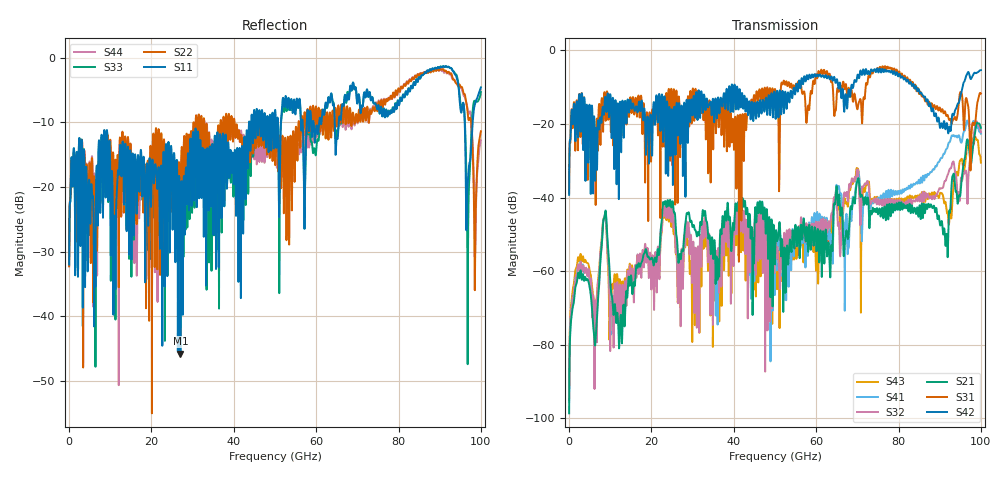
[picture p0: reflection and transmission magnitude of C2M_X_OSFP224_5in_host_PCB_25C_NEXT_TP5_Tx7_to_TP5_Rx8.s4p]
# GHz S RI R 45
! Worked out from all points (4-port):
!   4000 points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, 25 MHz to 100 GHz, reference 45 ohm
!   strongest paths, dB at 25 MHz, 25.02 GHz, 50.02 GHz, 75.03 GHz, 100 GHz:
!     S42: -39.3, -17.3, -13.9, -5.6, -5.4
!     S31: -38.9, -14.8, -10.6, -5.1, -11.7
!     S21: -98.6, -41.6, -57.1, -44.6, -21.1
!     S32: -94.9, -43.7, -51.9, -40.4, -22.3
!     S41: -95.6, -43.9, -56.6, -40.1, -22.6
!     S43: -93.3, -46.5, -55.0, -40.7, -30.5
!   lowest |S11| = -45.8 dB at 27.05 GHz (marker M1), VSWR 1.01, Z = 45.2 - j0.428 ohm
!   |S11| at or under -10 dB: start of sweep to 43.71 GHz; 59.39 GHz to 60.74 GHz (1.355 GHz wide, 2.26 % of centre); 96.08 GHz to 98 GHz (1.928 GHz wide, 1.99 % of centre) (the widest 3 of 21)
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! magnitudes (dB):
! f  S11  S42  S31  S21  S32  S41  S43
! 25 MHz  -32.0  -39.3  -38.9  -98.6  -94.9  -95.6  -93.3
! 6.375 GHz  -32.6  -33.8  -29.0  -79.9  -69.2  -74.2  -69.7
! 8.575 GHz  -11.2  -15.3  -11.4  -45.5  -45.3  -45.5  -45.5
! 12.45 GHz  -13.5  -14.5  -16.7  -73.6  -64.5  -67.7  -63.6
! 27.05 GHz  -45.8  -24.7  -21.4  -55.9  -66.2  -58.9  -68.3
! 91.6 GHz  -1.3  -20.2  -17.8  -50.4  -35.0  -26.8  -42.8
! 100 GHz  -4.6  -5.4  -11.7  -21.1  -22.3  -22.6  -30.5
